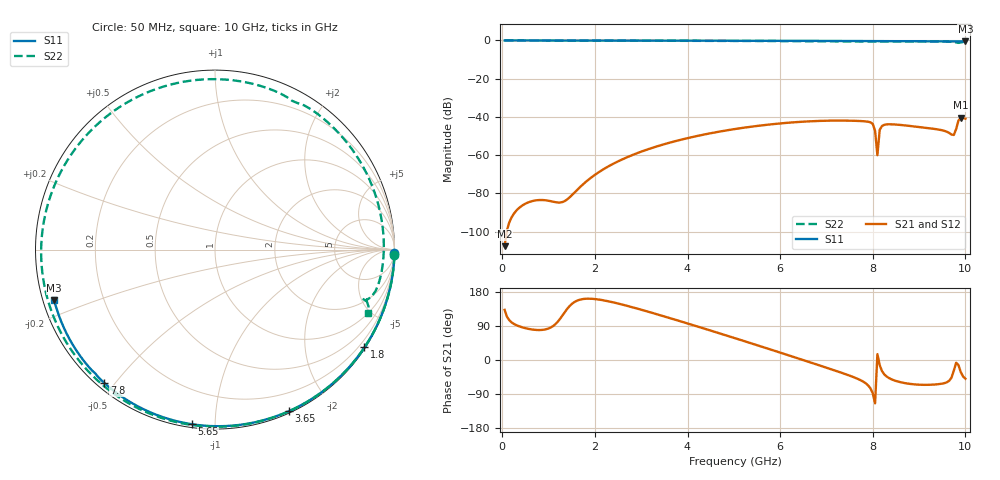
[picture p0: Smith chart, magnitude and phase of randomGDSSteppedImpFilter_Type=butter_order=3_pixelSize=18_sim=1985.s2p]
! freq	dB(S11)	phase(S11)	dB(S12)	phase(S12)
!  dB(S21)	phase(S21)	dB(S22)	phase(S22)
!S-par simulation data
#  GHz  S  DB  R 50
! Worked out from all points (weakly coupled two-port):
!   200 points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, 50 MHz to 10 GHz, reference 50 ohm
!   highest |S21| = -40.37 dB at 9.9 GHz (marker M1); lowest = -107.6 dB at 50 MHz (marker M2)
!   lowest |S11| = -0.5 dB at 10 GHz (marker M3), VSWR 32.01, Z = 1.6 - j7.67 ohm
!   |S11| at or under -10 dB: nowhere
!   |S22| runs from -1.3 to 0.0 dB; largest |S21 - S12| = 0
!   S11 on the Smith chart (normalised r, x): 50 MHz: open; 1.8 GHz: 0.03, -3.35; 3.65 GHz: 0.02, -1.56; 5.65 GHz: 0.02, -0.88; 7.8 GHz: 0.02, -0.47; 10 GHz: 0.03, -0.15
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0.05  -0.00 -0.9  -107.57 132.3  -107.57 132.3  -0.00 -1.7
0.75  -0.02 -14.0  -83.54 79.2  -83.54 79.2  -0.03 -26.0
1.5  -0.04 -27.8  -80.97 147.8  -80.97 147.8  -0.07 -51.5
1.75  -0.04 -32.3  -75.08 161.0  -75.08 161.0  -0.08 -59.8
1.8  -0.04 -33.2  -74.03 161.6  -74.03 161.6  -0.08 -61.5
2.45  -0.06 -44.8  -63.81 150.5  -63.81 150.5  -0.11 -83.0
3.4  -0.08 -61.2  -54.94 118.5  -54.94 118.5  -0.15 -113.9
3.65  -0.09 -65.4  -53.21 109.4  -53.21 109.4  -0.16 -122.0
5.05  -0.14 -88.2  -46.22 56.6  -46.22 56.6  -0.25 -169.4
5.65  -0.16 -97.6  -44.27 33.3  -44.27 33.3  -0.30 168.5
6.7  -0.22 -113.5  -42.21 -8.2  -42.21 -8.2  -0.39 125.6
7.25  -0.26 -121.6  -41.89 -30.5  -41.89 -30.5  -0.43 100.7
7.8  -0.31 -129.8  -42.23 -57.6  -42.23 -57.6  -0.48 74.4
8  -0.33 -132.8  -43.66 -88.0  -43.66 -88.0  -0.54 64.7
8.05  -0.35 -133.5  -47.28 -114.4  -47.28 -114.4  -0.60 62.5
8.1  -0.36 -134.1  -59.99 15.5  -59.99 15.5  -0.57 60.7
8.15  -0.35 -134.8  -46.72 -13.8  -46.72 -13.8  -0.49 58.3
8.35  -0.36 -137.8  -43.83 -47.6  -43.83 -47.6  -0.47 48.2
9.1  -0.43 -148.9  -45.56 -65.5  -45.56 -65.5  -0.51 12.8
9.75  -0.51 -158.7  -49.43 -28.2  -49.43 -28.2  -0.81 -16.8
9.9  -0.53 -161.0  -40.37 -31.9  -40.37 -31.9  -1.04 -18.3
10  -0.54 -162.5  -40.90 -49.3  -40.90 -49.3  -0.70 -22.5
